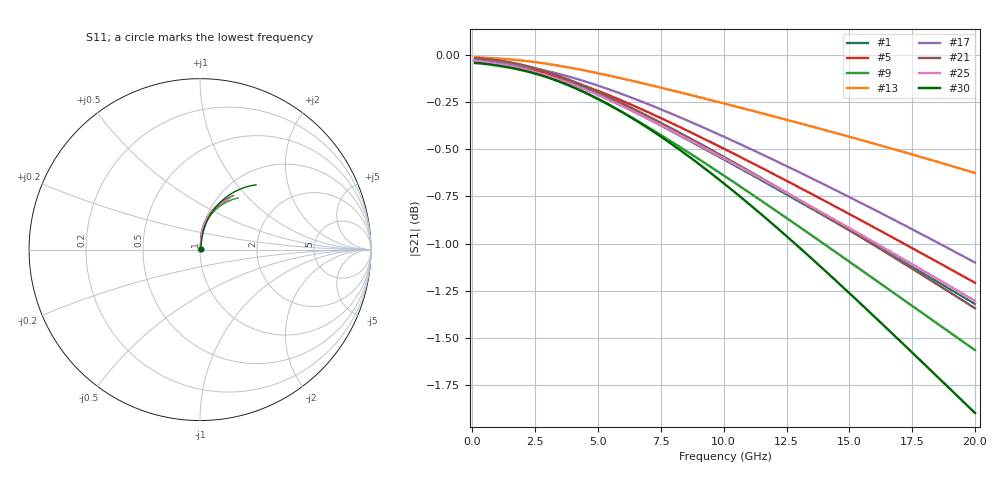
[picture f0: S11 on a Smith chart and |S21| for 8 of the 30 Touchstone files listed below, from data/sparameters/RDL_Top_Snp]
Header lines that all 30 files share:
! Touchstone file exported from HFSS 2024.1.0
!  Design:  RDL_top
!  Setup:  Setup1
!  Solution:  Sweep
! Variables:
# GHz S MA R 50.000000
! Terminal data exported
! Port[1] = Box2_T1
! Port[2] = Box2_T2
Fixed: dtsv = 10.80580581um, hbump = 3um, ldown = 100um, p = 40, rhole = 1um, t = 450um, tdown = 3.915915916um, wdown = 15.38538539um
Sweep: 100 MHz to 20 GHz
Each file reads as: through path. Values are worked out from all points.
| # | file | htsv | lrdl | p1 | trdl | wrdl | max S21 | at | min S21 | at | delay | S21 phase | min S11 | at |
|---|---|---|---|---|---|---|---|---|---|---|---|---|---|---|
| 1 | dut173.s2p | 99.63um | 521.17um | 57.31um | 2.65um | 26.73um | -0.03 dB | 100 MHz | -1.3 dB | 20 GHz | 5.34 ps | -22 deg at 10.1 GHz | -49.4 dB | 100 MHz |
| 2 | dut174.s2p | 74.75um | 308.26um | 52.04um | 2.26um | 26.26um | -0.02 dB | 100 MHz | -0.6 dB | 20 GHz | 3.27 ps | -13 deg at 10.1 GHz | -52.1 dB | 100 MHz |
| 3 | dut178.s2p | 99.91um | 689.02um | 40.46um | 4.07um | 26.97um | -0.02 dB | 100 MHz | -1.2 dB | 20 GHz | 5.6 ps | -23 deg at 10.1 GHz | -51.3 dB | 100 MHz |
| 4 | dut179.s2p | 50.36um | 427.76um | 49.48um | 4.75um | 11.41um | -0.02 dB | 100 MHz | -1.2 dB | 20 GHz | 4.75 ps | -19 deg at 10.1 GHz | -48.6 dB | 100 MHz |
| 5 | dut185.s2p | 80.84um | 521.09um | 48.73um | 2.31um | 23.77um | -0.03 dB | 100 MHz | -1.2 dB | 20 GHz | 5.16 ps | -21 deg at 10.1 GHz | -47.8 dB | 100 MHz |
| 6 | dut187.s2p | 72.35um | 347.76um | 55.65um | 3.57um | 25.85um | -0.01 dB | 100 MHz | -0.8 dB | 20 GHz | 3.64 ps | -15 deg at 10.1 GHz | -54.0 dB | 100 MHz |
| 7 | dut188.s2p | 67.96um | 104.19um | 43.12um | 4.33um | 21.69um | -0.01 dB | 100 MHz | -0.2 dB | 20 GHz | 1.18 ps | -5 deg at 10.1 GHz | -62.7 dB | 100 MHz |
| 8 | dut190.s2p | 66.24um | 238.05um | 49.13um | 2.6um | 11.34um | -0.03 dB | 100 MHz | -0.6 dB | 20 GHz | 3.16 ps | -12 deg at 10.1 GHz | -49.3 dB | 100 MHz |
| 9 | dut192.s2p | 70.01um | 661.67um | 46.64um | 3.1um | 22.04um | -0.03 dB | 100 MHz | -1.6 dB | 20 GHz | 6.22 ps | -25 deg at 10.1 GHz | -47.5 dB | 100 MHz |
| 10 | dut196.s2p | 93.33um | 257.29um | 47.09um | 3.88um | 28.68um | -0.01 dB | 100 MHz | -0.4 dB | 20 GHz | 2.42 ps | -10 deg at 10.1 GHz | -58.2 dB | 100 MHz |
| 11 | dut208.s2p | 93.83um | 576.06um | 43.21um | 4.89um | 23.03um | -0.02 dB | 100 MHz | -1.1 dB | 20 GHz | 5.08 ps | -20 deg at 10.1 GHz | -52.2 dB | 100 MHz |
| 12 | dut211.s2p | 62.19um | 454.77um | 53.48um | 2.02um | 20.42um | -0.04 dB | 100 MHz | -1.2 dB | 20 GHz | 4.98 ps | -20 deg at 10.1 GHz | -46.6 dB | 100 MHz |
| 13 | dut213.s2p | 58.19um | 302.81um | 49.45um | 4.08um | 19.05um | -0.01 dB | 100 MHz | -0.6 dB | 20 GHz | 3.26 ps | -13 deg at 10.1 GHz | -53.9 dB | 100 MHz |
| 14 | dut230.s2p | 80.7um | 331.79um | 45.3um | 2.96um | 19.36um | -0.02 dB | 100 MHz | -0.7 dB | 20 GHz | 3.5 ps | -14 deg at 10.1 GHz | -51.5 dB | 100 MHz |
| 15 | dut236.s2p | 63.25um | 674.31um | 54.25um | 4.72um | 23.76um | -0.02 dB | 100 MHz | -1.7 dB | 20 GHz | 6.36 ps | -26 deg at 10.1 GHz | -50.1 dB | 100 MHz |
| 16 | dut238.s2p | 64.06um | 355.93um | 55.35um | 2.02um | 20.29um | -0.03 dB | 100 MHz | -0.9 dB | 20 GHz | 4.13 ps | -16 deg at 10.1 GHz | -48.3 dB | 100 MHz |
| 17 | dut240.s2p | 84.07um | 450.55um | 50.38um | 2.42um | 21.19um | -0.03 dB | 100 MHz | -1.1 dB | 20 GHz | 4.74 ps | -19 deg at 10.1 GHz | -48.3 dB | 100 MHz |
| 18 | dut242.s2p | 86.41um | 317.66um | 45.81um | 4.91um | 23.64um | -0.01 dB | 100 MHz | -0.5 dB | 20 GHz | 3.01 ps | -12 deg at 10.1 GHz | -56.6 dB | 100 MHz |
| 19 | dut247.s2p | 53.54um | 324.15um | 48.49um | 2.33um | 10.95um | -0.04 dB | 100 MHz | -1.0 dB | 20 GHz | 4.08 ps | -16 deg at 10.1 GHz | -45.8 dB | 100 MHz |
| 20 | dut253.s2p | 69.82um | 216.83um | 40.91um | 4.92um | 24.46um | -0.01 dB | 100 MHz | -0.3 dB | 20 GHz | 1.96 ps | -8 deg at 10.1 GHz | -60.1 dB | 100 MHz |
| 21 | dut255.s2p | 79.41um | 529.64um | 56.75um | 4.82um | 21.89um | -0.02 dB | 100 MHz | -1.3 dB | 20 GHz | 5.36 ps | -22 deg at 10.1 GHz | -51.2 dB | 100 MHz |
| 22 | dut265.s2p | 75.25um | 604.49um | 54.42um | 3.63um | 26.83um | -0.02 dB | 100 MHz | -1.4 dB | 20 GHz | 5.77 ps | -24 deg at 10.1 GHz | -50.6 dB | 100 MHz |
| 23 | dut268.s2p | 65.79um | 465.73um | 42.3um | 3.15um | 19.22um | -0.03 dB | 100 MHz | -1.0 dB | 20 GHz | 4.52 ps | -18 deg at 10.1 GHz | -49.5 dB | 100 MHz |
| 24 | dut278.s2p | 85.22um | 271.6um | 45.7um | 4.48um | 23.56um | -0.01 dB | 100 MHz | -0.5 dB | 20 GHz | 2.65 ps | -10 deg at 10.1 GHz | -57.2 dB | 100 MHz |
| 25 | dut281.s2p | 88.18um | 530.12um | 53.88um | 2.16um | 26.36um | -0.03 dB | 100 MHz | -1.3 dB | 20 GHz | 5.35 ps | -22 deg at 10.1 GHz | -47.9 dB | 100 MHz |
| 26 | dut285.s2p | 58.28um | 477.12um | 58.68um | 2.91um | 22.06um | -0.03 dB | 100 MHz | -1.3 dB | 20 GHz | 5.14 ps | -21 deg at 10.1 GHz | -49.1 dB | 100 MHz |
| 27 | dut286.s2p | 78.78um | 649.33um | 58.7um | 4.27um | 18.16um | -0.03 dB | 100 MHz | -2.0 dB | 20 GHz | 6.71 ps | -28 deg at 10.1 GHz | -47.4 dB | 100 MHz |
| 28 | dut288.s2p | 97.61um | 647.07um | 40.66um | 4.1um | 11.75um | -0.04 dB | 100 MHz | -1.8 dB | 20 GHz | 6.35 ps | -26 deg at 10.1 GHz | -45.0 dB | 100 MHz |
| 29 | dut290.s2p | 55.9um | 605.36um | 44.33um | 3.95um | 12.21um | -0.04 dB | 100 MHz | -1.7 dB | 20 GHz | 6.13 ps | -25 deg at 10.1 GHz | -45.4 dB | 100 MHz |
| 30 | dut298.s2p | 71.89um | 532.44um | 59.19um | 2.73um | 13.99um | -0.04 dB | 100 MHz | -1.9 dB | 20 GHz | 6.15 ps | -25 deg at 10.1 GHz | -44.5 dB | 100 MHz |
